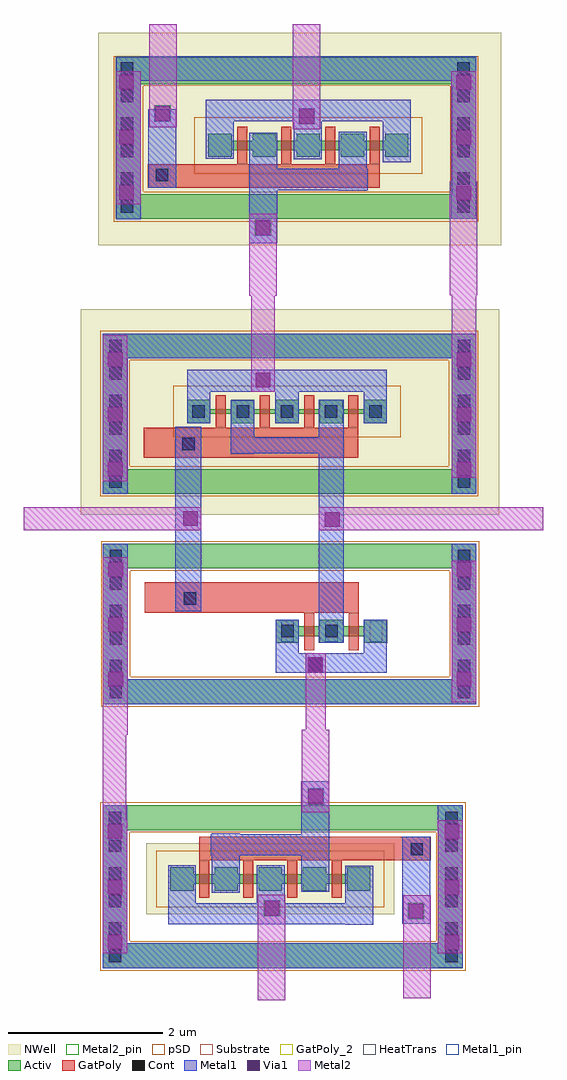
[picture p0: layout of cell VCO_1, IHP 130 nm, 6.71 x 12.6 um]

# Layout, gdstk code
from math import pi, radians
import gdstk
lib = gdstk.Library(unit=1e-6, precision=1e-09)
def R(c, l, rs):  # rectangles x0, y0, x1, y1
    for r in rs: c.add(gdstk.rectangle(r[:2], r[2:], *l))
def A(c, l, x, y, w, h, nx, ny, dx, dy):  # array of equal rectangles
    R(c, l, [(x+i*dx, y+j*dy, x+i*dx+w, y+j*dy+h) for i in range(nx) for j in range(ny)])
Activ = (1, 0)
GatPoly = (5, 0)
GatPoly_2 = (5, 2)
Cont = (6, 0)
Metal1 = (8, 0)
Metal1_pin = (8, 2)
Metal2 = (10, 0)
Metal2_pin = (10, 2)
pSD = (14, 0)
Via1 = (19, 0)
NWell = (31, 0)
Substrate = (40, 0)
HeatTrans = (51, 0)

nmos = lib.new_cell('nmos')
A(nmos, Activ, 0, 0, 0.3, 0.3, 3, 1, 0.57, 0)
R(nmos, Activ, [(0,0.085,1.44,0.21)])
R(nmos, GatPoly, [(0.37,-0.095,0.5,0.39), (0.94,-0.095,1.07,0.39)])
R(nmos, GatPoly_2, [(0.37,-0.095,0.5,0.39)])
A(nmos, Metal1, 0.07, 0.015, 0.16, 0.26, 3, 1, 0.57, 0)
R(nmos, Metal1_pin, [(0.07,0.015,0.23,0.275), (0.64,0.015,0.8,0.275)])
R(nmos, HeatTrans, [(0.37,-0.095,0.5,0.39), (0.94,-0.095,1.07,0.39)])
nmos.add(gdstk.Label('nmos', (0.435,0.148), layer=63, texttype=0))
nmos.add(gdstk.Label('nmos', (0.435,0.148), layer=51, texttype=0))
nmos.add(gdstk.Label('nmos', (1.005,0.148), layer=51, texttype=0))

pmos = lib.new_cell('pmos')
A(pmos, Activ, 0, 0, 0.3, 0.3, 5, 1, 0.57, 0)
R(pmos, Activ, [(0,0.12,2.58,0.18)])
A(pmos, GatPoly, 0.37, -0.06, 0.13, 0.42, 4, 1, 0.57, 0)
R(pmos, GatPoly, [(0.37,-0.06,0.5,0.36)])
A(pmos, Cont, 0.07, 0.07, 0.16, 0.16, 5, 1, 0.57, 0)
A(pmos, Metal1, 0.64, 0.02, 0.16, 0.26, 4, 1, 0.57, 0)
R(pmos, Metal1, [(0.07,0.02,0.23,0.28), (0.07,0.02,0.23,0.28), (0.64,0.02,0.8,0.28)])
R(pmos, pSD, [(-0.18,-0.18,2.76,0.48)])
R(pmos, NWell, [(-0.31,-0.31,2.89,0.61)])
R(pmos, Substrate, [(2.28,0,2.58,0.3)])
A(pmos, HeatTrans, 0.37, -0.06, 0.13, 0.42, 4, 1, 0.57, 0)
pmos.add(gdstk.Label('pmos', (0.435,0.15), layer=63, texttype=0))
pmos.add(gdstk.Label('pmos', (0.435,0.15), layer=51, texttype=0))
pmos.add(gdstk.Label('pmos', (1.005,0.15), layer=51, texttype=0))
pmos.add(gdstk.Label('pmos', (1.575,0.15), layer=51, texttype=0))
pmos.add(gdstk.Label('pmos', (2.145,0.15), layer=51, texttype=0))

t2_inverter = lib.new_cell('T2_Inverter')
R(t2_inverter, Activ, [(-4.36,-2.545,0.14,-2.22), (0.14,-2.545,0.46,-0.79), (-4.36,-2.22,-4.04,-0.47), (-4.04,-0.79,0.46,-0.47), (-4.36,0.17,0.14,0.49), (0.14,0.17,0.46,1.92), (-4.36,0.49,-4.04,2.24), (-4.04,1.92,0.46,2.24)])
R(t2_inverter, GatPoly, [(-3.82,-1.36,-1.06,-0.97), (-3.835,0.635,-1.065,1.025)])
A(t2_inverter, Cont, -4.275, -2.13, 0.16, 0.16, 1, 5, 0, 0.355)
A(t2_inverter, Cont, 0.22, -2.13, 0.16, 0.16, 1, 5, 0, 0.355)
A(t2_inverter, Cont, -4.28, 0.58, 0.16, 0.16, 1, 5, 0, 0.355)
A(t2_inverter, Cont, 0.22, 0.58, 0.16, 0.16, 1, 5, 0, 0.355)
R(t2_inverter, Cont, [(-4.275,-2.465,-4.115,-2.3), (0.22,-2.465,0.38,-2.3), (-1.7,-2.11,-1.54,-1.95), (-2.06,-1.68,-1.9,-1.52), (-1.49,-1.68,-1.33,-1.52), (-3.315,-1.26,-3.155,-1.1), (-4.28,0.25,-4.12,0.41), (0.22,0.25,0.38,0.41), (-3.335,0.735,-3.175,0.895)])
A(t2_inverter, Metal1, -3.275, 1.085, 0.3, 0.69, 3, 1, 1.14, 0)
R(t2_inverter, Metal1, [(-4.36,-2.545,-4.04,-0.47), (-4.36,-2.545,-4.04,-0.47), (-4.04,-2.545,0.14,-2.22), (0.14,-2.545,0.46,-0.47), (-2.13,-2.14,-1.83,-1.45), (-1.835,-2.14,-0.995,-1.885), (-0.995,-2.14,-0.695,-1.45), (-1.575,-1.75,-1.255,1.385), (-3.43,-1.345,-3.09,1.04), (-4.36,0.17,-4.04,2.24), (0.14,0.17,0.46,2.24), (-2.71,0.69,-2.41,1.38), (-2.415,0.695,-1.575,0.905), (-2.975,1.49,-2.135,1.775), (-1.835,1.49,-0.995,1.775), (-4.035,1.92,0.14,2.24)])
R(t2_inverter, Metal1_pin, [(-2.06,-1.735,-1.9,-1.475), (-1.49,-1.735,-1.33,-1.475), (-0.915,-1.735,-0.755,-1.475)])
R(t2_inverter, Metal2, [(-1.745,-2.965,-1.485,-1.885), (-4.365,-2.94,-4.04,-1.995), (-4.36,-2.52,-4.04,-0.645), (0.14,-2.52,0.46,-0.69), (-5.385,-0.3,-3.09,0), (-1.575,-0.3,1.325,0), (-4.365,0.335,-4.045,2.22), (0.14,0.38,0.46,2.225), (-2.445,1.49,-2.145,2.77), (0.14,1.755,0.46,2.755)])
R(t2_inverter, pSD, [(-4.385,-2.575,0.115,-2.19), (0.115,-2.575,0.495,-0.82), (-4.385,-2.19,-4.005,-0.44), (-4.005,-0.82,0.495,-0.44), (-4.395,0.14,0.105,0.525), (0.105,0.14,0.485,1.895), (-4.395,0.525,-4.015,2.275), (-4.015,1.895,0.485,2.275)])
R(t2_inverter, Via1, [(-4.29,-2.315,-4.1,-2.125), (0.205,-2.315,0.395,-2.125), (-1.715,-2.13,-1.525,-1.94), (-4.29,-1.61,-4.1,-1.42), (0.205,-1.61,0.395,-1.42), (-4.29,-0.9,-4.1,-0.71), (0.205,-0.9,0.395,-0.71), (-1.495,-0.255,-1.305,-0.065), (-3.325,-0.24,-3.135,-0.05), (-4.295,0.395,-4.105,0.585), (0.205,0.395,0.395,0.585), (-4.295,1.1,-4.105,1.29), (0.205,1.1,0.395,1.29), (-2.39,1.545,-2.2,1.735), (-4.295,1.81,-4.105,2), (0.205,1.81,0.395,2)])
R(t2_inverter, NWell, [(-4.645,-0.095,0.755,2.555)])
t2_inverter.add(gdstk.Reference(nmos, (-2.13,-1.75)))
t2_inverter.add(gdstk.Reference(pmos, (-3.275,1.085)))

pmos_1 = lib.new_cell('pmos$1')
A(pmos_1, Activ, 0, 0, 0.3, 0.3, 5, 1, 0.57, 0)
R(pmos_1, Activ, [(0,0.085,2.58,0.21)])
A(pmos_1, GatPoly, 0.37, -0.095, 0.13, 0.485, 4, 1, 0.57, 0)
R(pmos_1, GatPoly, [(0.37,-0.095,0.5,0.39)])
A(pmos_1, Metal1, 0.64, 0.015, 0.16, 0.26, 4, 1, 0.57, 0)
R(pmos_1, Metal1, [(0.07,0.015,0.23,0.275), (0.07,0.015,0.23,0.275), (0.64,0.015,0.8,0.275)])
R(pmos_1, pSD, [(-0.18,-0.215,2.76,0.51)])
R(pmos_1, NWell, [(-0.31,-0.31,2.89,0.605)])
R(pmos_1, Substrate, [(2.28,0,2.58,0.3)])
A(pmos_1, HeatTrans, 0.37, -0.095, 0.13, 0.485, 4, 1, 0.57, 0)
pmos_1.add(gdstk.Label('pmos', (0.435,0.148), layer=63, texttype=0))
pmos_1.add(gdstk.Label('pmos', (0.435,0.148), layer=51, texttype=0))
pmos_1.add(gdstk.Label('pmos', (1.005,0.148), layer=51, texttype=0))
pmos_1.add(gdstk.Label('pmos', (1.575,0.148), layer=51, texttype=0))
pmos_1.add(gdstk.Label('pmos', (2.145,0.148), layer=51, texttype=0))

nmos_bulk = lib.new_cell('nmos_bulk')
R(nmos_bulk, Activ, [(-0.195,1.99,4.135,2.31), (4.135,1.99,4.455,3.77), (-0.195,2.31,0.125,4.09), (0.125,3.77,4.455,4.09)])
R(nmos_bulk, GatPoly, [(1.05,2.395,4.04,2.695)])
A(nmos_bulk, Cont, -0.115, 2.43, 0.16, 0.16, 1, 5, 0, 0.355)
A(nmos_bulk, Cont, 4.23, 2.43, 0.16, 0.16, 1, 5, 0, 0.355)
R(nmos_bulk, Cont, [(-0.115,2.07,0.045,2.23), (4.23,2.07,4.39,2.23), (3.78,2.475,3.94,2.635)])
R(nmos_bulk, Metal1, [(2.37,1.675,2.73,3.1), (4.13,1.985,4.45,4.085), (-0.195,1.99,0.125,4.09), (1.215,2.35,1.575,3.115), (1.2,2.36,2.73,2.635), (3.675,2.395,4.035,3.515), (0.65,2.76,1.01,3.525), (1.795,2.76,2.155,3.525), (2.935,2.765,3.295,3.53), (0.65,3.25,3.295,3.525), (0.125,3.77,4.13,4.09)])
R(nmos_bulk, Metal2, [(2.375,1.015,2.73,2.075), (-0.195,1.02,0.11,2.6), (-0.195,2.18,0.125,3.895), (4.13,2.18,4.45,3.895), (1.805,3.145,2.16,4.5), (3.685,3.15,4.04,4.48)])
R(nmos_bulk, Metal2_pin, [(2.45,1.77,2.66,1.98), (1.885,3.21,2.095,3.42), (3.745,3.245,3.955,3.455)])
R(nmos_bulk, pSD, [(-0.225,1.95,4.11,2.335), (4.11,1.95,4.49,3.74), (-0.225,2.335,0.155,4.12), (0.155,3.74,4.49,4.12)])
R(nmos_bulk, Via1, [(2.46,1.78,2.65,1.97), (-0.13,2.23,0.06,2.42), (4.22,2.235,4.41,2.425), (-0.13,2.945,0.06,3.135), (4.22,2.95,4.41,3.14), (1.895,3.22,2.085,3.41), (3.755,3.255,3.945,3.445), (-0.13,3.655,0.06,3.845), (4.22,3.66,4.41,3.85)])
nmos_bulk.add(gdstk.Reference(pmos_1, (0.68,2.79)))
nmos_bulk.add(gdstk.Label('G', (3.82,4.025), layer=10, texttype=2))
nmos_bulk.add(gdstk.Label('Y', (3.85,3.35), layer=10, texttype=2))
nmos_bulk.add(gdstk.Label('Y', (2.555,1.875), layer=10, texttype=2))
nmos_bulk.add(gdstk.Label('B', (-0.08,1.13), layer=10, texttype=2))
nmos_bulk.add(gdstk.Label('A', (1.99,3.315), layer=10, texttype=2))
nmos_bulk.add(gdstk.Label('S', (1.96,3.715), layer=10, texttype=2))
nmos_bulk.add(gdstk.Label('D', (2.44,1.17), layer=10, texttype=2))

pmos_bulk = lib.new_cell('pmos_bulk')
R(pmos_bulk, Activ, [(0.455,-6.915,4.79,-6.595), (4.79,-6.915,5.11,-5.18), (0.455,-6.595,0.775,-4.83), (0.775,-5.18,5.11,-4.83)])
R(pmos_bulk, GatPoly, [(1.705,-6.51,4.695,-6.21)])
A(pmos_bulk, Cont, 0.54, -6.475, 0.16, 0.16, 1, 5, 0, 0.355)
A(pmos_bulk, Cont, 4.885, -6.475, 0.16, 0.16, 1, 5, 0, 0.355)
R(pmos_bulk, Cont, [(0.54,-6.835,0.7,-6.675), (4.885,-6.835,5.045,-6.675), (4.435,-6.43,4.595,-6.27)])
R(pmos_bulk, Metal1, [(3.025,-7.23,3.385,-5.805), (4.785,-6.92,5.105,-4.82), (0.46,-6.915,0.78,-4.815), (1.87,-6.555,2.23,-5.79), (1.855,-6.545,3.385,-6.27), (4.33,-6.51,4.69,-5.5), (1.305,-6.185,1.665,-5.785), (1.305,-6.145,1.665,-5.38), (2.45,-6.145,2.81,-5.38), (3.59,-6.14,3.95,-5.375), (1.305,-5.655,3.95,-5.38), (0.78,-5.135,4.785,-4.815)])
R(pmos_bulk, Metal2, [(3.03,-7.91,3.385,-6.85), (0.445,-7.9,0.8,-6.43), (0.46,-6.725,0.78,-5.01), (4.785,-6.725,5.105,-5.01), (2.47,-5.755,2.825,-4.4), (4.325,-5.73,4.68,-4.4)])
R(pmos_bulk, Metal2_pin, [(3.105,-7.135,3.315,-6.925), (2.54,-5.695,2.75,-5.485), (4.4,-5.66,4.61,-5.45)])
R(pmos_bulk, pSD, [(0.435,-6.95,4.755,-6.565), (4.755,-6.95,5.135,-5.195), (0.435,-6.565,0.795,-4.815), (0.775,-5.195,5.135,-4.815)])
R(pmos_bulk, Via1, [(3.115,-7.125,3.305,-6.935), (0.525,-6.675,0.715,-6.485), (4.875,-6.67,5.065,-6.48), (0.525,-5.96,0.715,-5.77), (4.875,-5.955,5.065,-5.765), (2.55,-5.685,2.74,-5.495), (4.41,-5.65,4.6,-5.46), (0.525,-5.25,0.715,-5.06), (4.875,-5.245,5.065,-5.055)])
R(pmos_bulk, NWell, [(0.135,-7.255,5.335,-4.515)])
pmos_bulk.add(gdstk.Reference(pmos_1, (1.335,-6.115)))
pmos_bulk.add(gdstk.Label('G', (4.475,-4.88), layer=10, texttype=2))
pmos_bulk.add(gdstk.Label('Y', (4.505,-5.555), layer=10, texttype=2))
pmos_bulk.add(gdstk.Label('Y', (3.21,-7.03), layer=10, texttype=2))
pmos_bulk.add(gdstk.Label('B', (0.565,-7.78), layer=10, texttype=2))
pmos_bulk.add(gdstk.Label('A', (2.645,-5.59), layer=10, texttype=2))
pmos_bulk.add(gdstk.Label('S', (2.615,-5.19), layer=10, texttype=2))
pmos_bulk.add(gdstk.Label('D', (3.155,-7.735), layer=10, texttype=2))

vco_1 = lib.new_cell('VCO_1')
vco_1.add(gdstk.Reference(t2_inverter, (0.31,0.12)))
vco_1.add(gdstk.Reference(nmos_bulk, (-3.86,-1.74), x_reflection=True))
vco_1.add(gdstk.Reference(pmos_bulk, (1.225,10.755), rotation=pi, x_reflection=True))

lib.write_gds('VCO_1.gds')
